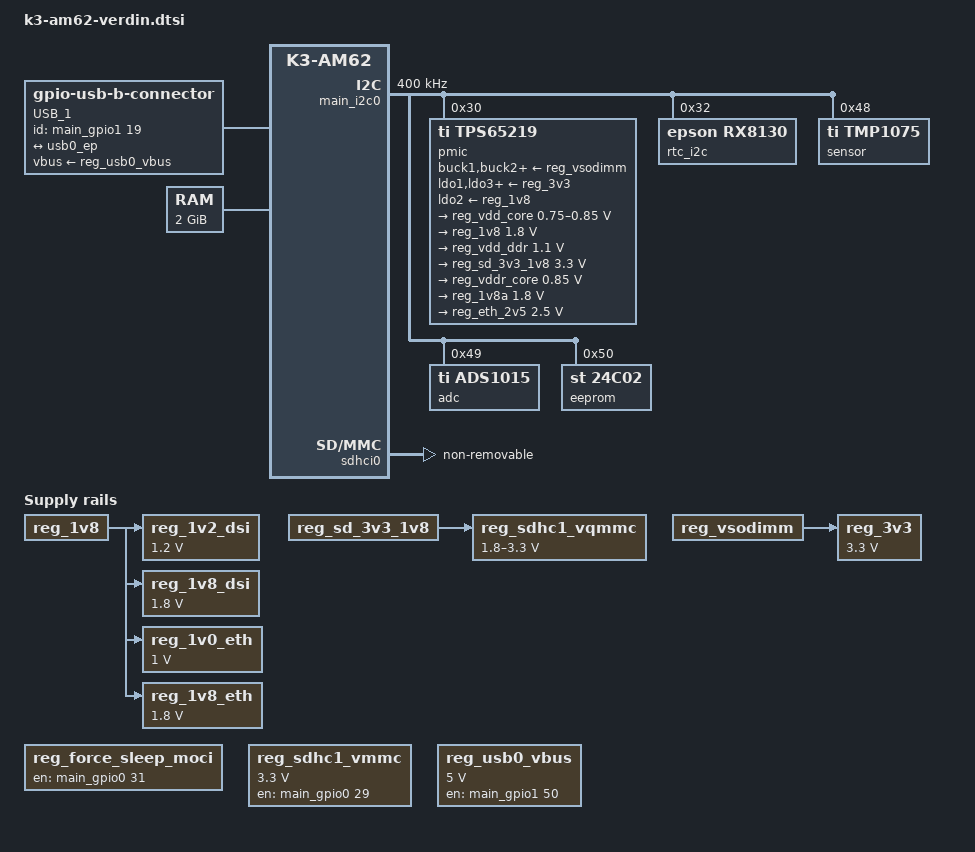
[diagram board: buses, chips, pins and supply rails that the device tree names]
// SPDX-License-Identifier: GPL-2.0-or-later OR MIT
/*
 * Copyright 2023 Toradex
 *
 * Common dtsi for Verdin AM62 SoM
 *
 * https://www.toradex.com/computer-on-modules/verdin-arm-family/ti-am62
 */

#include <dt-bindings/gpio/gpio.h>
#include <dt-bindings/input/input.h>
#include <dt-bindings/interrupt-controller/arm-gic.h>
#include <dt-bindings/interrupt-controller/irq.h>
#include <dt-bindings/net/ti-dp83867.h>

/ {
	chosen {
		stdout-path = "serial2:115200n8";
	};

	aliases {
		can0 = &main_mcan0;
		can1 = &mcu_mcan0;
		ethernet0 = &cpsw_port1;
		ethernet1 = &cpsw_port2;
		i2c0 = &main_i2c0;
		i2c1 = &main_i2c1;
		i2c2 = &main_i2c2;
		i2c3 = &mcu_i2c0;
		i2c4 = &main_i2c3;
		mmc0 = &sdhci0;
		mmc1 = &sdhci1;
		mmc2 = &sdhci2;
		rtc0 = &rtc_i2c;
		rtc1 = &wkup_rtc0;
		serial0 = &main_uart1;
		serial1 = &wkup_uart0;
		serial2 = &main_uart0;
		serial3 = &mcu_uart0;
		serial4 = &main_uart5;
		usb0 = &usb0;
		usb1 = &usb1;
	};

	connector {
		compatible = "gpio-usb-b-connector", "usb-b-connector";
		pinctrl-names = "default";
		pinctrl-0 = <&pinctrl_usb0_id>;
		id-gpios = <&main_gpio1 19 GPIO_ACTIVE_HIGH>;
		label = "USB_1";
		self-powered;
		vbus-supply = <&reg_usb0_vbus>;

		port {
			usb_dr_connector: endpoint {
				remote-endpoint = <&usb0_ep>;
			};
		};
	};

	verdin_gpio_keys: gpio-keys {
		compatible = "gpio-keys";
		pinctrl-names = "default";
		pinctrl-0 = <&pinctrl_ctrl_wake1_mico>;
		status = "disabled";

		verdin_key_wakeup: key-wakeup {
			debounce-interval = <10>;
			/* Verdin CTRL_WAKE1_MICO# (SODIMM 252) */
			gpios = <&main_gpio0 32 GPIO_ACTIVE_LOW>;
			label = "Wake-Up";
			linux,code = <KEY_WAKEUP>;
			wakeup-source;
		};
	};

	memory@80000000 {
		device_type = "memory";
		reg = <0x00000000 0x80000000 0x00000000 0x80000000>; /* 2G RAM */
	};

	opp-table {
		/* Add 1.4GHz OPP. Requires VDD_CORE to be at 0.85V */
		opp-1400000000 {
			opp-hz = /bits/ 64 <1400000000>;
			opp-supported-hw = <0x01 0x0004>;
			clock-latency-ns = <6000000>;
		};
	};

	/* Module Power Supply */
	reg_vsodimm: regulator-vsodimm {
		compatible = "regulator-fixed";
		regulator-name = "+V_SODIMM";
	};

	/* Non PMIC On-module Supplies */
	reg_3v3: regulator-3v3 {
		compatible = "regulator-fixed";
		regulator-max-microvolt = <3300000>;
		regulator-min-microvolt = <3300000>;
		regulator-name = "On-module +V3.3";
		vin-supply = <&reg_vsodimm>;
	};

	reg_1v2_dsi: regulator-1v2-dsi {
		compatible = "regulator-fixed";
		regulator-max-microvolt = <1200000>;
		regulator-min-microvolt = <1200000>;
		regulator-name = "On-module +V1.2_DSI";
		vin-supply = <&reg_1v8>;
	};

	/* Enabled by +V1.2_DSI */
	reg_1v8_dsi: regulator-1v8-dsi {
		compatible = "regulator-fixed";
		regulator-max-microvolt = <1800000>;
		regulator-min-microvolt = <1800000>;
		regulator-name = "On-module +V1.8_DSI";
		vin-supply = <&reg_1v8>;
	};

	/* Enabled by +V2.5_ETH */
	reg_1v0_eth: regulator-1v0-eth {
		compatible = "regulator-fixed";
		regulator-max-microvolt = <1000000>;
		regulator-min-microvolt = <1000000>;
		regulator-name = "On-module +V1.0_ETH";
		vin-supply = <&reg_1v8>;
	};

	/* Enabled by +V2.5_ETH */
	reg_1v8_eth: regulator-1v8-eth {
		compatible = "regulator-fixed";
		regulator-max-microvolt = <1800000>;
		regulator-min-microvolt = <1800000>;
		regulator-name = "On-module +V1.8_ETH";
		vin-supply = <&reg_1v8>;
	};

	/*
	 * By default we enable CTRL_SLEEP_MOCI#, this is required to have
	 * peripherals on the carrier board powered.
	 * If more granularity or power saving is required this can be disabled
	 * in the carrier board device tree files.
	 */
	reg_force_sleep_moci: regulator-force-sleep-moci {
		compatible = "regulator-fixed";
		enable-active-high;
		/* Verdin CTRL_SLEEP_MOCI# (SODIMM 256) */
		gpio = <&main_gpio0 31 GPIO_ACTIVE_HIGH>;
		regulator-always-on;
		regulator-boot-on;
		regulator-name = "CTRL_SLEEP_MOCI#";
	};

	/* Verdin SD_1 Power Supply */
	reg_sdhc1_vmmc: regulator-sdhci1 {
		compatible = "regulator-fixed";
		pinctrl-names = "default";
		pinctrl-0 = <&pinctrl_sd1_pwr_en>;
		enable-active-high;
		/* Verdin SD_1_PWR_EN (SODIMM 76) */
		gpio = <&main_gpio0 29 GPIO_ACTIVE_HIGH>;
		off-on-delay-us = <100000>;
		regulator-max-microvolt = <3300000>;
		regulator-min-microvolt = <3300000>;
		regulator-name = "+V3.3_SD";
		startup-delay-us = <2000>;
	};

	reg_sdhc1_vqmmc: regulator-sdhci1-vqmmc {
		compatible = "regulator-gpio";
		pinctrl-names = "default";
		pinctrl-0 = <&pinctrl_vsel_sd>;
		/* PMIC_VSEL_SD */
		gpios = <&main_gpio0 21 GPIO_ACTIVE_HIGH>;
		regulator-name = "LDO1-VSEL-SD (PMIC)";
		regulator-min-microvolt = <1800000>;
		regulator-max-microvolt = <3300000>;
		states = <1800000 0x0>,
			 <3300000 0x1>;
		vin-supply = <&reg_sd_3v3_1v8>;
	};

	reg_usb0_vbus: regulator-usb0-vbus {
		compatible = "regulator-fixed";
		pinctrl-names = "default";
		pinctrl-0 = <&pinctrl_usb0_en>;
		enable-active-high;
		/* Verdin USB_1_EN (SODIMM 155) */
		gpio = <&main_gpio1 50 GPIO_ACTIVE_HIGH>;
		regulator-max-microvolt = <5000000>;
		regulator-min-microvolt = <5000000>;
		regulator-name = "USB_1_EN";
	};

	reserved-memory {
		#address-cells = <2>;
		#size-cells = <2>;
		ranges;

		secure_tfa_ddr: tfa@9e780000 {
			reg = <0x00 0x9e780000 0x00 0x80000>;
			alignment = <0x1000>;
			no-map;
		};

		secure_ddr: optee@9e800000 {
			reg = <0x00 0x9e800000 0x00 0x01800000>; /* for OP-TEE */
			alignment = <0x1000>;
			no-map;
		};

		wkup_r5fss0_core0_dma_memory_region: r5f-dma-memory@9db00000 {
			compatible = "shared-dma-pool";
			reg = <0x00 0x9db00000 0x00 0xc00000>;
			no-map;
		};
	};
};

&main_pmx0 {
	/* Verdin PWM_1 */
	pinctrl_epwm0_a: main-epwm0a-default-pins {
		pinctrl-single,pins = <
			AM62X_IOPAD(0x01b4, PIN_OUTPUT, 2) /* (A13) SPI0_CS0.EHRPWM0_A */ /* SODIMM 15 */
		>;
	};

	/* Verdin PWM_2 */
	pinctrl_epwm0_b: main-epwm0b-default-pins {
		pinctrl-single,pins = <
			AM62X_IOPAD(0x01b8, PIN_OUTPUT, 2) /* (C13) SPI0_CS1.EHRPWM0_B */ /* SODIMM 16 */
		>;
	};

	/* Verdin PWM_3_DSI */
	pinctrl_epwm1_a: main-epwm1a-default-pins {
		pinctrl-single,pins = <
			AM62X_IOPAD(0x01bc, PIN_OUTPUT, 2) /* (A14) SPI0_CLK.EHRPWM1_A */ /* SODIMM 19 */
		>;
	};

	/* Verdin QSPI_1_CLK as GPIO (conflict with Verdin QSPI_1 interface) */
	pinctrl_qspi1_clk_gpio: main-gpio0-0-default-pins {
		pinctrl-single,pins = <
			AM62X_IOPAD(0x0000, PIN_INPUT, 7) /* (H24) OSPI0_CLK.GPIO0_0 */ /* SODIMM 52 */
		>;
	};

	/* Verdin QSPI_1_IO0 as GPIO (conflict with Verdin QSPI_1 interface) */
	pinctrl_qspi1_io0_gpio: main-gpio0-3-default-pins {
		pinctrl-single,pins = <
			AM62X_IOPAD(0x000c, PIN_INPUT, 7) /* (E25) OSPI0_D0.GPIO0_3 */ /* SODIMM 56 */
		>;
	};

	/* Verdin QSPI_1_IO1 as GPIO (conflict with Verdin QSPI_1 interface) */
	pinctrl_qspi1_io1_gpio: main-gpio0-4-default-pins {
		pinctrl-single,pins = <
			AM62X_IOPAD(0x0010, PIN_INPUT, 7) /* (G24) OSPI0_D1.GPIO0_4 */ /* SODIMM 58 */
		>;
	};

	/* Verdin QSPI_1_IO2 as GPIO (conflict with Verdin QSPI_1 interface) */
	pinctrl_qspi1_io2_gpio: main-gpio0-5-default-pins {
		pinctrl-single,pins = <
			AM62X_IOPAD(0x0014, PIN_INPUT, 7) /* (F25) OSPI0_D2.GPIO0_5 */ /* SODIMM 60 */
		>;
	};

	/* Verdin QSPI_1_IO3 as GPIO (conflict with Verdin QSPI_1 interface) */
	pinctrl_qspi1_io3_gpio: main-gpio0-6-default-pins {
		pinctrl-single,pins = <
			AM62X_IOPAD(0x0018, PIN_INPUT, 7) /* (F24) OSPI0_D3.GPIO0_6 */ /* SODIMM 62 */
		>;
	};

	/* Verdin SPI_1 CS as GPIO */
	pinctrl_qspi1_io4_gpio: main-gpio0-7-default-pins {
		pinctrl-single,pins = <
			AM62X_IOPAD(0x001c, PIN_INPUT, 7) /* (J23) OSPI0_D4.GPIO0_7 */ /* SODIMM 202 */
		>;
	};

	/* Verdin QSPI_1_CS# as GPIO (conflict with Verdin QSPI_1 interface) */
	pinctrl_qspi1_cs_gpio: main-gpio0-11-default-pins {
		pinctrl-single,pins = <
			AM62X_IOPAD(0x002c, PIN_INPUT, 7) /* (F23) OSPI0_CSn0.GPIO0_11 */ /* SODIMM 54 */
		>;
	};

	/* Verdin QSPI_1_CS2# as GPIO (conflict with Verdin QSPI_1 interface) */
	pinctrl_qspi1_cs2_gpio: main-gpio0-12-default-pins {
		pinctrl-single,pins = <
			AM62X_IOPAD(0x0030, PIN_INPUT, 7) /* (G21) OSPI0_CSn1.GPIO0_12 */ /* SODIMM 64 */
		>;
	};

	/* WiFi_W_WKUP_HOST# */
	pinctrl_wifi_w_wkup_host: main-gpio0-15-default-pins {
		pinctrl-single,pins = <
			AM62X_IOPAD(0x003c, PIN_INPUT, 7) /* (M25) GPMC0_AD0.GPIO0_15 */ /* SODIMM 174 */
		>;
	};

	/* WiFi_BT_WKUP_HOST# */
	pinctrl_bt_wkup_host: main-gpio0-16-default-pins {
		pinctrl-single,pins = <
			AM62X_IOPAD(0x0040, PIN_INPUT, 7) /* (N23) GPMC0_AD1.GPIO0_16 */ /* SODIMM 172 */
		>;
	};

	/* PMIC_ETH_RESET# */
	pinctrl_eth_reset: main-gpio0-17-default-pins {
		pinctrl-single,pins = <
			AM62X_IOPAD(0x0044, PIN_INPUT, 7) /* (N24) GPMC0_AD2.GPIO0_17 */
		>;
	};

	/* PMIC_BRIDGE_RESET# */
	pinctrl_bridge_reset: main-gpio0-20-default-pins {
		pinctrl-single,pins = <
			AM62X_IOPAD(0x0050, PIN_INPUT, 7) /* (P22) GPMC0_AD5.GPIO0_20 */
		>;
	};

	/* PMIC_VSEL_SD */
	pinctrl_vsel_sd: main-gpio0-21-default-pins {
		pinctrl-single,pins = <
			AM62X_IOPAD(0x0054, PIN_INPUT, 7) /* (P21) GPMC0_AD6.GPIO0_21 */
		>;
	};

	/* PMIC_EN_WIFI */
	pinctrl_wifi_en: main-gpio0-22-default-pins {
		pinctrl-single,pins = <
			AM62X_IOPAD(0x0058, PIN_INPUT, 7) /* (R23) GPMC0_AD7.GPIO0_22 */
		>;
	};

	/* PMIC_ETH_INT# */
	pinctrl_eth_int: main-gpio0-25-default-pins {
		pinctrl-single,pins = <
			AM62X_IOPAD(0x0064, PIN_INPUT_PULLUP, 7) /* (T25) GPMC0_AD10.GPIO0_25 */
		>;
	};

	/* WiFi_WKUP_BT# */
	pinctrl_wifi_wkup_bt: main-gpio0-26-default-pins {
		pinctrl-single,pins = <
			AM62X_IOPAD(0x0068, PIN_INPUT, 7) /* (R21) GPMC0_AD11.GPIO0_26 */
		>;
	};

	/* WiFi_WKUP_WLAN# */
	pinctrl_wifi_wkup_wlan: main-gpio0-27-default-pins {
		pinctrl-single,pins = <
			AM62X_IOPAD(0x006c, PIN_INPUT, 7) /* (T22) GPMC0_AD12.GPIO0_27 */
		>;
	};

	/* Verdin SD_1_PWR_EN */
	pinctrl_sd1_pwr_en: main-gpio0-29-default-pins {
		pinctrl-single,pins = <
			AM62X_IOPAD(0x0074, PIN_INPUT, 7) /* (U25) GPMC0_AD14.GPIO0_29 */ /* SODIMM 76 */
		>;
	};

	/* Verdin DSI_1_BKL_EN */
	pinctrl_dsi1_bkl_en: main-gpio0-30-default-pins {
		pinctrl-single,pins = <
			AM62X_IOPAD(0x0078, PIN_INPUT, 7) /* (U24) GPMC0_AD15.GPIO0_30 */ /* SODIMM 21 */
		>;
	};

	/* Verdin CTRL_SLEEP_MOCI# */
	pinctrl_ctrl_sleep_moci: main-gpio0-31-default-pins {
		pinctrl-single,pins = <
			AM62X_IOPAD(0x007c, PIN_INPUT, 7) /* (P25) GPMC0_CLK.GPIO0_31 */ /* SODIMM 256 */
		>;
	};

	/* Verdin CTRL_WAKE1_MICO# */
	pinctrl_ctrl_wake1_mico: main-gpio0-32-default-pins {
		pinctrl-single,pins = <
			AM62X_IOPAD(0x0084, PIN_INPUT_PULLUP, 7) /* (L23) GPMC0_ADVn_ALE.GPIO0_32 */ /* SODIMM 252 */
		>;
	};

	/* Verdin I2S_2_D_OUT as GPIO (conflict with Verdin I2S_2 interface) */
	pinctrl_i2s_2_d_out_gpio: main-gpio0-34-default-pins {
		pinctrl-single,pins = <
			AM62X_IOPAD(0x008c, PIN_INPUT, 7) /* (L25) GPMC0_WEn.GPIO0_34 */ /* SODIMM 46 */
		>;
	};

	/* Verdin I2S_2_BCLK as GPIO (conflict with Verdin I2S_2 interface) */
	pinctrl_i2s_2_bclk_gpio: main-gpio0-35-default-pins {
		pinctrl-single,pins = <
			AM62X_IOPAD(0x0090, PIN_INPUT, 7) /* (M24) GPMC0_BE0n_CLE.GPIO0_35 */ /* SODIMM 42 */
		>;
	};

	/* Verdin GPIO_6 */
	pinctrl_gpio_6: main-gpio0-36-default-pins {
		pinctrl-single,pins = <
			AM62X_IOPAD(0x0094, PIN_INPUT, 7) /* (N20) GPMC0_BE1n.GPIO0_36 */ /* SODIMM 218 */
		>;
	};

	/* Verdin ETH_2_RGMII_INT# */
	pinctrl_eth2_rgmii_int: main-gpio0-38-default-pins {
		pinctrl-single,pins = <
			AM62X_IOPAD(0x009c, PIN_INPUT, 7) /* (V25) GPMC0_WAIT1.GPIO0_38 */ /* SODIMM 189 */
		>;
	};

	/* Verdin GPIO_5 */
	pinctrl_gpio_5: main-gpio0-40-default-pins {
		pinctrl-single,pins = <
			AM62X_IOPAD(0x00a4, PIN_INPUT, 7) /* (M22) GPMC0_DIR.GPIO0_40 */ /* SODIMM 216 */
		>;
	};

	/* Verdin GPIO_7 */
	pinctrl_gpio_7: main-gpio0-41-default-pins {
		pinctrl-single,pins = <
			AM62X_IOPAD(0x00a8, PIN_INPUT, 7) /* (M21) GPMC0_CSn0.GPIO0_41 */ /* SODIMM 220 */
		>;
	};

	/* Verdin GPIO_8 */
	pinctrl_gpio_8: main-gpio0-42-default-pins {
		pinctrl-single,pins = <
			AM62X_IOPAD(0x00ac, PIN_INPUT, 7) /* (L21) GPMC0_CSn1.GPIO0_42 */ /* SODIMM 222 */
		>;
	};

	/* Verdin USB_1_OC# */
	pinctrl_usb1_oc: main-gpio0-71-default-pins {
		pinctrl-single,pins = <
			AM62X_IOPAD(0x0124, PIN_INPUT, 7) /* (A23) MMC2_SDCD.GPIO0_71 */ /* SODIMM 157 */
		>;
	};

	/* Verdin USB_2_OC# */
	pinctrl_usb2_oc: main-gpio0-72-default-pins {
		pinctrl-single,pins = <
			AM62X_IOPAD(0x0128, PIN_INPUT, 7) /* (B23) MMC2_SDWP.GPIO0_72 */ /* SODIMM 187 */
		>;
	};

	/* Verdin PWM_3_DSI as GPIO */
	pinctrl_pwm3_dsi_gpio: main-gpio1-17-default-pins {
		pinctrl-single,pins = <
			AM62X_IOPAD(0x01bc, PIN_INPUT, 7) /* (A14) SPI0_CLK.GPIO1_17 */ /* SODIMM 19 */
		>;
	};

	/* Verdin QSPI_1_DQS as GPIO */
	pinctrl_qspi1_dqs_gpio: main-gpio1-18-default-pins {
		pinctrl-single,pins = <
			AM62X_IOPAD(0x01c0, PIN_INPUT, 7) /* (B13) SPI0_D0.GPIO1_18 */ /* SODIMM 66 */
		>;
	};

	/* Verdin USB_1_ID */
	pinctrl_usb0_id: main-gpio1-19-default-pins {
		pinctrl-single,pins = <
			AM62X_IOPAD(0x01c4, PIN_INPUT, 7) /* (B14) SPI0_D1.GPIO1_19 */ /* SODIMM 161 */
		>;
	};

	/* Verdin SD_1_CD# as GPIO */
	pinctrl_sd1_cd_gpio: main-gpio1-48-default-pins {
		pinctrl-single,pins = <
			AM62X_IOPAD(0x240, PIN_INPUT_PULLUP, 7) /* (D17) MMC1_SDCD.GPIO1_48 */ /* SODIMM 84 */
		>;
	};

	/* Verdin DSI_1_INT# (pulled-up as active-low) */
	pinctrl_dsi1_int: main-gpio1-49-default-pins {
		pinctrl-single,pins = <
			AM62X_IOPAD(0x0244, PIN_INPUT_PULLUP, 7) /* (C17) MMC1_SDWP.GPIO1_49 */ /* SODIMM 17 */
		>;
	};

	/* Verdin USB_1_EN */
	pinctrl_usb0_en: main-gpio1-50-default-pins {
		pinctrl-single,pins = <
			AM62X_IOPAD(0x0254, PIN_INPUT, 7) /* (C20) USB0_DRVVBUS.GPIO1_50 */ /* SODIMM 155 */
		>;
	};

	/* On-module I2C - PMIC_I2C */
	pinctrl_i2c0: main-i2c0-default-pins {
		pinctrl-single,pins = <
			AM62X_IOPAD(0x01e0, PIN_INPUT, 0) /* (B16) I2C0_SCL */ /* PMIC_I2C_SCL */
			AM62X_IOPAD(0x01e4, PIN_INPUT, 0) /* (A16) I2C0_SDA */ /* PMIC_I2C_SDA */
		>;
	};

	/* Verdin I2C_1 */
	pinctrl_i2c1: main-i2c1-default-pins {
		pinctrl-single,pins = <
			AM62X_IOPAD(0x01e8, PIN_INPUT_PULLUP, 0) /* (B17) I2C1_SCL */ /* SODIMM 14 */
			AM62X_IOPAD(0x01ec, PIN_INPUT_PULLUP, 0) /* (A17) I2C1_SDA */ /* SODIMM 12 */
		>;
	};

	/* Verdin I2C_2_DSI */
	pinctrl_i2c2: main-i2c2-default-pins {
		pinctrl-single,pins = <
			AM62X_IOPAD(0x00b0, PIN_INPUT, 1) /* (K22) GPMC0_CSn2.I2C2_SCL */ /* SODIMM 55 */
			AM62X_IOPAD(0x00b4, PIN_INPUT, 1) /* (K24) GPMC0_CSn3.I2C2_SDA */ /* SODIMM 53 */
		>;
	};

	/* Verdin I2C_4_CSI */
	pinctrl_i2c3: main-i2c3-default-pins {
		pinctrl-single,pins = <
			AM62X_IOPAD(0x01d0, PIN_INPUT, 2) /* (A15) UART0_CTSn.I2C3_SCL */ /* SODIMM 95 */
			AM62X_IOPAD(0x01d4, PIN_INPUT, 2) /* (B15) UART0_RTSn.I2C3_SDA */ /* SODIMM 93 */
		>;
	};

	/* I2S_1_MCLK */
	pinctrl_i2s1_mclk: main-system-audio-ext-reflock1-default-pins {
		pinctrl-single,pins = <
			AM62X_IOPAD(0x00a0, PIN_OUTPUT, 1) /* (K25) GPMC0_WPn.AUDIO_EXT_REFCLK1 */ /* SODIMM 38 */
		>;
	};

	/* Verdin I2S_1 */
	pinctrl_mcasp0: main-mcasp0-default-pins {
		pinctrl-single,pins = <
			AM62X_IOPAD(0x01a4, PIN_INPUT,  0) /* (B20) MCASP0_ACLKX */ /* SODIMM 30 */
			AM62X_IOPAD(0x01a8, PIN_INPUT,  0) /* (D20) MCASP0_AFSX  */ /* SODIMM 32 */
			AM62X_IOPAD(0x01a0, PIN_OUTPUT, 0) /* (E18) MCASP0_AXR0  */ /* SODIMM 34 */
			AM62X_IOPAD(0x019c, PIN_INPUT,  0) /* (B18) MCASP0_AXR1  */ /* SODIMM 36 */
		>;
	};

	/* Verdin I2S_2 */
	pinctrl_mcasp1: main-mcasp1-default-pins {
		pinctrl-single,pins = <
			AM62X_IOPAD(0x0090, PIN_INPUT,  2) /* (M24) GPMC0_BE0n_CLE.MCASP1_ACLKX */ /* SODIMM 42 */
			AM62X_IOPAD(0x0098, PIN_INPUT,  2) /* (U23) GPMC0_WAIT0.MCASP1_AFSX     */ /* SODIMM 44 */
			AM62X_IOPAD(0x008c, PIN_OUTPUT, 2) /* (L25) GPMC0_WEn.MCASP1_AXR0       */ /* SODIMM 46 */
			AM62X_IOPAD(0x0088, PIN_INPUT,  2) /* (L24) GPMC0_OEn_REn.MCASP1_AXR1   */ /* SODIMM 48 */
		>;
	};

	/* Verdin CAN_1 */
	pinctrl_mcan0: main-mcan0-default-pins {
		pinctrl-single,pins = <
			AM62X_IOPAD(0x01dc, PIN_INPUT,  0) /* (E15) MCAN0_RX */ /* SODIMM 22 */
			AM62X_IOPAD(0x01d8, PIN_OUTPUT, 0) /* (C15) MCAN0_TX */ /* SODIMM 20 */
		>;
	};

	/* MDIO, shared by Verdin ETH_1 (On-module PHY) and Verdin ETH_2_RGMII */
	pinctrl_mdio: main-mdio1-default-pins {
		pinctrl-single,pins = <
			AM62X_IOPAD(0x160, PIN_OUTPUT, 0) /* (AD24) MDIO0_MDC  */ /* ETH_1_MDC,  SODIMM 193 */
			AM62X_IOPAD(0x15c, PIN_INPUT, 0)  /* (AB22) MDIO0_MDIO */ /* ETH_1_MDIO, SODIMM 191 */
		>;
	};

	/* On-module eMMC */
	pinctrl_sdhci0: main-mmc0-default-pins {
		pinctrl-single,pins = <
			AM62X_IOPAD(0x220, PIN_INPUT, 0) /*  (Y3) MMC0_CMD  */
			AM62X_IOPAD(0x218, PIN_INPUT, 0) /* (AB1) MMC0_CLK  */
			AM62X_IOPAD(0x214, PIN_INPUT, 0) /* (AA2) MMC0_DAT0 */
			AM62X_IOPAD(0x210, PIN_INPUT, 0) /* (AA1) MMC0_DAT1 */
			AM62X_IOPAD(0x20c, PIN_INPUT, 0) /* (AA3) MMC0_DAT2 */
			AM62X_IOPAD(0x208, PIN_INPUT, 0) /*  (Y4) MMC0_DAT3 */
			AM62X_IOPAD(0x204, PIN_INPUT, 0) /* (AB2) MMC0_DAT4 */
			AM62X_IOPAD(0x200, PIN_INPUT, 0) /* (AC1) MMC0_DAT5 */
			AM62X_IOPAD(0x1fc, PIN_INPUT, 0) /* (AD2) MMC0_DAT6 */
			AM62X_IOPAD(0x1f8, PIN_INPUT, 0) /* (AC2) MMC0_DAT7 */
		>;
	};

	/* Verdin SD_1 */
	pinctrl_sdhci1: main-mmc1-default-pins {
		pinctrl-single,pins = <
			AM62X_IOPAD(0x23c, PIN_INPUT,        0) /* (A21) MMC1_CMD  */ /* SODIMM 74 */
			AM62X_IOPAD(0x234, PIN_INPUT,        0) /* (B22) MMC1_CLK  */ /* SODIMM 78 */
			AM62X_IOPAD(0x230, PIN_INPUT,        0) /* (A22) MMC1_DAT0 */ /* SODIMM 80 */
			AM62X_IOPAD(0x22c, PIN_INPUT,        0) /* (B21) MMC1_DAT1 */ /* SODIMM 82 */
			AM62X_IOPAD(0x228, PIN_INPUT,        0) /* (C21) MMC1_DAT2 */ /* SODIMM 70 */
			AM62X_IOPAD(0x224, PIN_INPUT,        0) /* (D22) MMC1_DAT3 */ /* SODIMM 72 */
		>;
	};

	/* On-module Wi-Fi on WB SKUs, module-specific SDIO otherwise */
	pinctrl_sdhci2: main-mmc2-default-pins {
		pinctrl-single,pins = <
			AM62X_IOPAD(0x120, PIN_INPUT, 0) /* (C24) MMC2_CMD   */ /* WiFi_SDIO_CMD   */
			AM62X_IOPAD(0x118, PIN_INPUT, 0) /* (D25) MMC2_CLK   */ /* WiFi_SDIO_CLK   */
			AM62X_IOPAD(0x114, PIN_INPUT, 0) /* (B24) MMC2_DAT0  */ /* WiFi_SDIO_DATA0 */
			AM62X_IOPAD(0x110, PIN_INPUT, 0) /* (C25) MMC2_DAT1  */ /* WiFi_SDIO_DATA1 */
			AM62X_IOPAD(0x10c, PIN_INPUT, 0) /* (E23) MMC2_DAT2  */ /* WiFi_SDIO_DATA2 */
			AM62X_IOPAD(0x108, PIN_INPUT, 0) /* (D24) MMC2_DAT3  */ /* WiFi_SDIO_DATA3 */
			AM62X_IOPAD(0x11c, PIN_INPUT, 0) /* (#N/A) MMC2_CLKB */
		>;
	};

	/* Verdin QSPI_1 */
	pinctrl_ospi0: main-ospi0-default-pins {
		pinctrl-single,pins = <
			AM62X_IOPAD(0x0000, PIN_OUTPUT, 0) /* (H24) OSPI0_CLK  */ /* SODIMM 52 */
			AM62X_IOPAD(0x002c, PIN_OUTPUT, 0) /* (F23) OSPI0_CSn0 */ /* SODIMM 54 */
			AM62X_IOPAD(0x0030, PIN_OUTPUT, 0) /* (G21) OSPI0_CSn1 */ /* SODIMM 64 */
			AM62X_IOPAD(0x000c, PIN_INPUT, 0)  /* (E25) OSPI0_D0   */ /* SODIMM 56 */
			AM62X_IOPAD(0x0010, PIN_INPUT, 0)  /* (G24) OSPI0_D1   */ /* SODIMM 58 */
			AM62X_IOPAD(0x0014, PIN_INPUT, 0)  /* (F25) OSPI0_D2   */ /* SODIMM 60 */
			AM62X_IOPAD(0x0018, PIN_INPUT, 0)  /* (F24) OSPI0_D3   */ /* SODIMM 62 */
		>;
	};

	/* Verdin ETH_1 RGMII (On-module PHY) */
	pinctrl_rgmii1: main-rgmii1-default-pins {
		pinctrl-single,pins = <
			AM62X_IOPAD(0x14c, PIN_INPUT,  0) /* (AB17) RGMII1_RD0    */
			AM62X_IOPAD(0x150, PIN_INPUT,  0) /* (AC17) RGMII1_RD1    */
			AM62X_IOPAD(0x154, PIN_INPUT,  0) /* (AB16) RGMII1_RD2    */
			AM62X_IOPAD(0x158, PIN_INPUT,  0) /* (AA15) RGMII1_RD3    */
			AM62X_IOPAD(0x148, PIN_INPUT,  0) /* (AD17) RGMII1_RXC    */
			AM62X_IOPAD(0x144, PIN_INPUT,  0) /* (AE17) RGMII1_RX_CTL */
			AM62X_IOPAD(0x134, PIN_OUTPUT, 0) /* (AE20) RGMII1_TD0    */
			AM62X_IOPAD(0x138, PIN_OUTPUT, 0) /* (AD20) RGMII1_TD1    */
			AM62X_IOPAD(0x13c, PIN_OUTPUT, 0) /* (AE18) RGMII1_TD2    */
			AM62X_IOPAD(0x140, PIN_OUTPUT, 0) /* (AD18) RGMII1_TD3    */
			AM62X_IOPAD(0x130, PIN_OUTPUT, 0) /* (AE19) RGMII1_TXC    */
			AM62X_IOPAD(0x12c, PIN_OUTPUT, 0) /* (AD19) RGMII1_TX_CTL */
		>;
	};

	/* Verdin ETH_2 RGMII */
	pinctrl_rgmii2: main-rgmii2-default-pins {
		pinctrl-single,pins = <
			AM62X_IOPAD(0x184, PIN_INPUT,  0) /* (AE23) RGMII2_RD0    */ /* SODIMM 201 */
			AM62X_IOPAD(0x188, PIN_INPUT,  0) /* (AB20) RGMII2_RD1    */ /* SODIMM 203 */
			AM62X_IOPAD(0x18c, PIN_INPUT,  0) /* (AC21) RGMII2_RD2    */ /* SODIMM 205 */
			AM62X_IOPAD(0x190, PIN_INPUT,  0) /* (AE22) RGMII2_RD3    */ /* SODIMM 207 */
			AM62X_IOPAD(0x180, PIN_INPUT,  0) /* (AD23) RGMII2_RXC    */ /* SODIMM 197 */
			AM62X_IOPAD(0x17c, PIN_INPUT,  0) /* (AD22) RGMII2_RX_CTL */ /* SODIMM 199 */
			AM62X_IOPAD(0x16c, PIN_OUTPUT, 0) /*  (Y18) RGMII2_TD0    */ /* SODIMM 221 */
			AM62X_IOPAD(0x170, PIN_OUTPUT, 0) /* (AA18) RGMII2_TD1    */ /* SODIMM 219 */
			AM62X_IOPAD(0x174, PIN_OUTPUT, 0) /* (AD21) RGMII2_TD2    */ /* SODIMM 217 */
			AM62X_IOPAD(0x178, PIN_OUTPUT, 0) /* (AC20) RGMII2_TD3    */ /* SODIMM 215 */
			AM62X_IOPAD(0x168, PIN_OUTPUT, 0) /* (AE21) RGMII2_TXC    */ /* SODIMM 213 */
			AM62X_IOPAD(0x164, PIN_OUTPUT, 0) /* (AA19) RGMII2_TX_CTL */ /* SODIMM 211 */
		>;
	};

	/* Verdin SPI_1 */
	pinctrl_spi1: main-spi1-default-pins {
		pinctrl-single,pins = <
			AM62X_IOPAD(0x0020, PIN_INPUT, 1) /* (J25) OSPI0_D5.SPI1_CLK */ /* SODIMM 196 */
			AM62X_IOPAD(0x0024, PIN_INPUT, 1) /* (H25) OSPI0_D6.SPI1_D0  */ /* SODIMM 200 */
			AM62X_IOPAD(0x0028, PIN_INPUT, 1) /* (J22) OSPI0_D7.SPI1_D1  */ /* SODIMM 198 */
		>;
	};

	/* Verdin SPI_1 CS */
	pinctrl_spi1_cs0: main-spi1-cs0-default-pins {
		pinctrl-single,pins = <
			AM62X_IOPAD(0x001c, PIN_INPUT, 1) /* (J23) OSPI0_D4.SPI1_CS0 */ /* SODIMM 202 */
		>;
	};

	/* ETH_25MHz_CLK */
	pinctrl_eth_clock: main-system-clkout0-default-pins {
		pinctrl-single,pins = <
			AM62X_IOPAD(0x01f0, PIN_OUTPUT_PULLUP, 5) /* (A18) EXT_REFCLK1.CLKOUT0 */
		>;
	};

	/* PMIC_EXTINT# */
	pinctrl_pmic_extint: main-system-extint-default-pins {
		pinctrl-single,pins = <
			AM62X_IOPAD(0x01f4, PIN_INPUT, 0) /* (D16) EXTINTn */
		>;
	};

	/* Verdin UART_3, used as the Linux console */
	pinctrl_uart0: main-uart0-default-pins {
		pinctrl-single,pins = <
			AM62X_IOPAD(0x1c8, PIN_INPUT_PULLUP, 0) /* (D14) UART0_RXD */ /* SODIMM 147 */
			AM62X_IOPAD(0x1cc, PIN_OUTPUT,       0) /* (E14) UART0_TXD */ /* SODIMM 149 */
		>;
	};

	/* Verdin UART_1 */
	pinctrl_uart1: main-uart1-default-pins {
		pinctrl-single,pins = <
			AM62X_IOPAD(0x0194, PIN_INPUT_PULLUP, 2) /* (B19) MCASP0_AXR3.UART1_CTSn */ /* SODIMM 135 */
			AM62X_IOPAD(0x0198, PIN_OUTPUT,       2) /* (A19) MCASP0_AXR2.UART1_RTSn */ /* SODIMM 133 */
			AM62X_IOPAD(0x01ac, PIN_INPUT_PULLUP, 2) /* (E19) MCASP0_AFSR.UART1_RXD  */ /* SODIMM 129 */
			AM62X_IOPAD(0x01b0, PIN_OUTPUT,       2) /* (A20) MCASP0_ACLKR.UART1_TXD */ /* SODIMM 131 */
		>;
	};

	/* Bluetooth on WB SKUs, module-specific UART otherwise */
	pinctrl_uart5: main-uart5-default-pins {
		pinctrl-single,pins = <
			AM62X_IOPAD(0x0008, PIN_INPUT_PULLUP, 5) /* (J24) OSPI0_DQS.UART5_CTSn    */ /* WiFi_UART_CTS */
			AM62X_IOPAD(0x0004, PIN_OUTPUT,       5) /* (G25) OSPI0_LBCLKO.UART5_RTSn */ /* WiFi_UART_RTS */
			AM62X_IOPAD(0x0034, PIN_INPUT_PULLUP, 5) /* (H21) OSPI0_CSn2.UART5_RXD    */ /* WiFi_UART_RXD */
			AM62X_IOPAD(0x0038, PIN_OUTPUT,       5) /* (E24) OSPI0_CSn3.UART5_TXD    */ /* WiFi_UART_TXD */
		>;
	};

	/* Verdin USB_2 */
	pinctrl_usb1: main-usb1-default-pins {
		pinctrl-single,pins = <
			AM62X_IOPAD(0x0258, PIN_OUTPUT, 0) /* (F18) USB1_DRVVBUS */ /* SODIMM 185 */
		>;
	};

	/* DSS VOUT0 RGB */
	pinctrl_parallel_rgb: main-vout-default-pins {
		pinctrl-single,pins = <
			AM62X_IOPAD(0x0100, PIN_OUTPUT, 0) /* (AC25) VOUT0_VSYNC            */
			AM62X_IOPAD(0x00f8, PIN_OUTPUT, 0) /* (AB24) VOUT0_HSYNC            */
			AM62X_IOPAD(0x0104, PIN_OUTPUT, 0) /* (AC24) VOUT0_PCLK             */
			AM62X_IOPAD(0x00fc, PIN_OUTPUT, 0) /*  (Y20) VOUT0_DE               */
			AM62X_IOPAD(0x00b8, PIN_OUTPUT, 0) /*  (U22) VOUT0_DATA0            */
			AM62X_IOPAD(0x00bc, PIN_OUTPUT, 0) /*  (V24) VOUT0_DATA1            */
			AM62X_IOPAD(0x00c0, PIN_OUTPUT, 0) /*  (W25) VOUT0_DATA2            */
			AM62X_IOPAD(0x00c4, PIN_OUTPUT, 0) /*  (W24) VOUT0_DATA3            */
			AM62X_IOPAD(0x00c8, PIN_OUTPUT, 0) /*  (Y25) VOUT0_DATA4            */
			AM62X_IOPAD(0x00cc, PIN_OUTPUT, 0) /*  (Y24) VOUT0_DATA5            */
			AM62X_IOPAD(0x00d0, PIN_OUTPUT, 0) /*  (Y23) VOUT0_DATA6            */
			AM62X_IOPAD(0x00d4, PIN_OUTPUT, 0) /* (AA25) VOUT0_DATA7            */
			AM62X_IOPAD(0x00d8, PIN_OUTPUT, 0) /*  (V21) VOUT0_DATA8            */
			AM62X_IOPAD(0x00dc, PIN_OUTPUT, 0) /*  (W21) VOUT0_DATA9            */
			AM62X_IOPAD(0x00e0, PIN_OUTPUT, 0) /*  (V20) VOUT0_DATA10           */
			AM62X_IOPAD(0x00e4, PIN_OUTPUT, 0) /* (AA23) VOUT0_DATA11           */
			AM62X_IOPAD(0x00e8, PIN_OUTPUT, 0) /* (AB25) VOUT0_DATA12           */
			AM62X_IOPAD(0x00ec, PIN_OUTPUT, 0) /* (AA24) VOUT0_DATA13           */
			AM62X_IOPAD(0x00f0, PIN_OUTPUT, 0) /*  (Y22) VOUT0_DATA14           */
			AM62X_IOPAD(0x00f4, PIN_OUTPUT, 0) /* (AA21) VOUT0_DATA15           */
			AM62X_IOPAD(0x005c, PIN_OUTPUT, 1) /*  (R24) GPMC0_AD8.VOUT0_DATA16 */
			AM62X_IOPAD(0x0060, PIN_OUTPUT, 1) /*  (R25) GPMC0_AD9.VOUT0_DATA17 */
		>;
	};
};

&mcu_pmx0 {
	/* Verdin PCIE_1_RESET# */
	pinctrl_pcie_1_reset: mcu-gpio0-0-default-pins {
		pinctrl-single,pins = <
			AM62X_MCU_IOPAD(0x0000, PIN_INPUT, 7) /* (E8) MCU_SPI0_CS0.MCU_GPIO0_0 */ /* SODIMM 244 */
		>;
	};

	/* Verdin GPIO_1 */
	pinctrl_gpio_1: mcu-gpio0-1-default-pins {
		pinctrl-single,pins = <
			AM62X_MCU_IOPAD(0x0004, PIN_INPUT, 7) /* (B8) MCU_SPI0_CS1.MCU_GPIO0_1 */ /* SODIMM 206 */
		>;
	};

	/* Verdin GPIO_2 */
	pinctrl_gpio_2: mcu-gpio0-2-default-pins {
		pinctrl-single,pins = <
			AM62X_MCU_IOPAD(0x0008, PIN_INPUT, 7) /* (A7) MCU_SPI0_CLK.MCU_GPIO0_2 */ /* SODIMM 208 */
		>;
	};

	/* Verdin GPIO_3 */
	pinctrl_gpio_3: mcu-gpio0-3-default-pins {
		pinctrl-single,pins = <
			AM62X_MCU_IOPAD(0x000c, PIN_INPUT, 7) /* (D9) MCU_SPI0_D0.MCU_GPIO0_3 */ /* SODIMM 210 */
		>;
	};

	/* Verdin GPIO_4 */
	pinctrl_gpio_4: mcu-gpio0-4-default-pins {
		pinctrl-single,pins = <
			AM62X_MCU_IOPAD(0x0010, PIN_INPUT, 7) /* (C9) MCU_SPI0_D1.MCU_GPIO0_4 */ /* SODIMM 212 */
		>;
	};

	/* Verdin I2C_3_HDMI */
	pinctrl_mcu_i2c0: mcu-i2c0-default-pins {
		pinctrl-single,pins = <
			AM62X_MCU_IOPAD(0x0044, PIN_INPUT, 0) /*  (A8) MCU_I2C0_SCL */ /* SODIMM 59 */
			AM62X_MCU_IOPAD(0x0048, PIN_INPUT, 0) /* (D10) MCU_I2C0_SDA */ /* SODIMM 57 */
		>;
	};

	/* Verdin CAN_2 */
	pinctrl_mcu_mcan0: mcu-mcan0-default-pins {
		pinctrl-single,pins = <
			AM62X_MCU_IOPAD(0x0038, PIN_INPUT,  0) /* (B3) MCU_MCAN0_RX */ /* SODIMM 26 */
			AM62X_MCU_IOPAD(0x0034, PIN_OUTPUT, 0) /* (D6) MCU_MCAN0_TX */ /* SODIMM 24 */
		>;
	};

	/* Verdin UART_4 - Reserved to Cortex-M4 */
	pinctrl_mcu_uart0: mcu-uart0-default-pins {
		pinctrl-single,pins = <
			AM62X_MCU_IOPAD(0x0014, PIN_INPUT_PULLUP, 0) /* (B5) MCU_UART0_RXD */ /* SODIMM 151 */
			AM62X_MCU_IOPAD(0x0018, PIN_OUTPUT,       0) /* (A5) MCU_UART0_TXD */ /* SODIMM 153 */
		>;
	};

	/* Verdin CSI_1_MCLK */
	pinctrl_csi1_mclk: wkup-clkout0-default-pins {
		pinctrl-single,pins = <
			AM62X_MCU_IOPAD(0x0084, PIN_OUTPUT, 0) /* (A12) WKUP_CLKOUT0 */ /* SODIMM 91 */
		>;
	};

	/* Verdin UART_2 */
	pinctrl_wkup_uart0: wkup-uart0-default-pins {
		pinctrl-single,pins = <
			AM62X_MCU_IOPAD(0x002c, PIN_INPUT_PULLUP, 0) /* (C6) WKUP_UART0_CTSn */ /* SODIMM 143 */
			AM62X_MCU_IOPAD(0x0030, PIN_OUTPUT,       0) /* (A4) WKUP_UART0_RTSn */ /* SODIMM 141 */
			AM62X_MCU_IOPAD(0x0024, PIN_INPUT_PULLUP, 0) /* (B4) WKUP_UART0_RXD  */ /* SODIMM 137 */
			AM62X_MCU_IOPAD(0x0028, PIN_OUTPUT,       0) /* (C5) WKUP_UART0_TXD  */ /* SODIMM 139 */
		>;
	};
};

/* VERDIN I2S_1_MCLK */
&audio_refclk1 {
	assigned-clock-rates = <25000000>;
};

&cpsw3g {
	pinctrl-names = "default";
	pinctrl-0 = <&pinctrl_rgmii1>;
	status = "disabled";
};

/* Verdin ETH_1 (On-module PHY) */
&cpsw_port1 {
	phy-handle = <&cpsw3g_phy0>;
	phy-mode = "rgmii-rxid";
	status = "disabled";
};

/* Verdin ETH_2_RGMII */
&cpsw_port2 {
	status = "disabled";
};

/* MDIO, shared by Verdin ETH_1 (On-module PHY) and Verdin ETH_2_RGMII */
&cpsw3g_mdio {
	assigned-clocks = <&k3_clks 157 20>;
	assigned-clock-parents = <&k3_clks 157 22>;
	assigned-clock-rates = <25000000>;
	pinctrl-names = "default";
	pinctrl-0 = <&pinctrl_eth_clock>, <&pinctrl_mdio>;
	status = "disabled";

	cpsw3g_phy0: ethernet-phy@0 {
		compatible = "ethernet-phy-id2000.a231";
		reg = <0>;
		interrupt-parent = <&main_gpio0>;
		interrupts = <25 IRQ_TYPE_EDGE_FALLING>;
		pinctrl-names = "default";
		pinctrl-0 = <&pinctrl_eth_int>, <&pinctrl_eth_reset>;
		reset-gpios = <&main_gpio0 17 GPIO_ACTIVE_LOW>;
		reset-assert-us = <10>;
		reset-deassert-us = <1000>;
		ti,fifo-depth = <DP83867_PHYCR_FIFO_DEPTH_4_B_NIB>;
		ti,rx-internal-delay = <DP83867_RGMIIDCTL_2_00_NS>;
	};
};

&dss {
	pinctrl-names = "default";
	pinctrl-0 = <&pinctrl_parallel_rgb>;
	status = "disabled";
};

&dss_ports {
	#address-cells = <1>;
	#size-cells = <0>;

	/* VP2: DPI Output */
	port@1 {
		reg = <1>;

		dpi_out: endpoint {
			remote-endpoint = <&rgb_in>;
		};
	};
};

/* Verdin PWM_1, PWM_2 */
&epwm0 {
	pinctrl-names = "default";
	pinctrl-0 = <&pinctrl_epwm0_a>, <&pinctrl_epwm0_b>;
	status = "disabled";
};

/* Verdin PWM_3_DSI */
&epwm1 {
	pinctrl-names = "default";
	pinctrl-0 = <&pinctrl_epwm1_a>;
	status = "disabled";
};

&main_gpio0 {
	gpio-line-names =
		"SODIMM_52", /* 0 */
		"",
		"",
		"SODIMM_56",
		"SODIMM_58",
		"SODIMM_60",
		"SODIMM_62",
		"",
		"",
		"",
		"", /* 10 */
		"SODIMM_54",
		"SODIMM_64",
		"",
		"",
		"SODIMM_174",
		"SODIMM_172",
		"",
		"",
		"",
		"", /* 20 */
		"",
		"",
		"",
		"",
		"",
		"",
		"",
		"",
		"SODIMM_76",
		"SODIMM_21", /* 30 */
		"SODIMM_256",
		"SODIMM_252",
		"",
		"SODIMM_46",
		"SODIMM_42",
		"SODIMM_218",
		"",
		"SODIMM_189",
		"",
		"SODIMM_216", /* 40 */
		"SODIMM_220",
		"SODIMM_222",
		"",
		"",
		"",
		"",
		"",
		"",
		"",
		"", /* 50 */
		"",
		"",
		"",
		"",
		"",
		"",
		"",
		"",
		"",
		"", /* 60 */
		"",
		"",
		"",
		"",
		"",
		"",
		"",
		"",
		"",
		"", /* 70 */
		"SODIMM_157",
		"SODIMM_187",
		"",
		"",
		"",
		"",
		"",
		"",
		"",
		"", /* 80 */
		"",
		"",
		"",
		"",
		"",
		"";
};

&main_gpio1 {
	gpio-line-names =
		"", /* 0 */
		"",
		"",
		"",
		"",
		"",
		"",
		"",
		"",
		"",
		"", /* 10 */
		"",
		"",
		"",
		"",
		"SODIMM_15",
		"SODIMM_16",
		"SODIMM_19",
		"SODIMM_66",
		"SODIMM_161",
		"", /* 20 */
		"",
		"",
		"",
		"",
		"",
		"",
		"",
		"",
		"",
		"", /* 30 */
		"",
		"",
		"",
		"",
		"",
		"",
		"",
		"",
		"",
		"", /* 40 */
		"",
		"",
		"",
		"",
		"",
		"",
		"",
		"",
		"SODIMM_17",
		"SODIMM_155", /* 50 */
		"",
		"",
		"",
		"",
		"",
		"",
		"",
		"",
		"",
		"", /* 60 */
		"",
		"",
		"",
		"",
		"",
		"",
		"",
		"",
		"",
		"", /* 70 */
		"",
		"",
		"",
		"",
		"",
		"",
		"",
		"",
		"",
		"", /* 80 */
		"",
		"",
		"",
		"",
		"",
		"",
		"";
};

/* On-module I2C - PMIC_I2C */
&main_i2c0 {
	pinctrl-names = "default";
	pinctrl-0 = <&pinctrl_i2c0>;
	clock-frequency = <400000>;
	status = "okay";

	dsi_bridge: dsi@e {
		compatible = "toshiba,tc358778";
		reg = <0xe>;
		assigned-clocks = <&k3_clks 157 20>;
		assigned-clock-parents = <&k3_clks 157 22>;
		assigned-clock-rates = <25000000>;
		pinctrl-names = "default";
		pinctrl-0 = <&pinctrl_bridge_reset>;
		clocks = <&k3_clks 157 20>;
		clock-names = "refclk";
		reset-gpios = <&main_gpio0 20 GPIO_ACTIVE_LOW>;
		vddc-supply = <&reg_1v2_dsi>;
		vddmipi-supply = <&reg_1v2_dsi>;
		vddio-supply = <&reg_1v8_dsi>;
		status = "disabled";

		dsi_bridge_ports: ports {
			#address-cells = <1>;
			#size-cells = <0>;

			port@0 {
				reg = <0>;

				rgb_in: endpoint {
					data-lines = <18>;
					remote-endpoint = <&dpi_out>;
				};
			};

			port@1 {
				reg = <1>;
			};
		};
	};

	pmic@30 {
		compatible = "ti,tps65219";
		reg = <0x30>;
		pinctrl-names = "default";
		pinctrl-0 = <&pinctrl_pmic_extint>;
		interrupt-parent = <&gic500>;
		interrupts = <GIC_SPI 224 IRQ_TYPE_LEVEL_HIGH>;

		buck1-supply = <&reg_vsodimm>;
		buck2-supply = <&reg_vsodimm>;
		buck3-supply = <&reg_vsodimm>;
		ldo1-supply = <&reg_3v3>;
		ldo2-supply = <&reg_1v8>;
		ldo3-supply = <&reg_3v3>;
		ldo4-supply = <&reg_3v3>;
		system-power-controller;
		ti,power-button;

		regulators {
			reg_vdd_core: buck1 {
				regulator-always-on;
				regulator-boot-on;
				regulator-max-microvolt = <850000>;
				regulator-min-microvolt = <750000>;
				regulator-name = "+VDD_CORE (PMIC BUCK1)";
			};

			reg_1v8: buck2 {
				regulator-always-on;
				regulator-boot-on;
				regulator-max-microvolt = <1800000>;
				regulator-min-microvolt = <1800000>;
				regulator-name = "+V1.8 (PMIC BUCK2)"; /* On-module and SODIMM 214 */
			};

			reg_vdd_ddr: buck3 {
				regulator-always-on;
				regulator-boot-on;
				regulator-max-microvolt = <1100000>;
				regulator-min-microvolt = <1100000>;
				regulator-name = "+VDD_DDR (PMIC BUCK3)";
			};

			reg_sd_3v3_1v8: ldo1 {
				regulator-allow-bypass;
				regulator-always-on;
				regulator-boot-on;
				regulator-max-microvolt = <3300000>;
				regulator-min-microvolt = <3300000>;
				regulator-name = "+V3.3_1.8_SD (PMIC LDO1)";
			};

			reg_vddr_core: ldo2 {
				regulator-always-on;
				regulator-boot-on;
				regulator-max-microvolt = <850000>;
				regulator-min-microvolt = <850000>;
				regulator-name = "+VDDR_CORE (PMIC LDO2)";
			};

			reg_1v8a: ldo3 {
				regulator-always-on;
				regulator-boot-on;
				regulator-max-microvolt = <1800000>;
				regulator-min-microvolt = <1800000>;
				regulator-name = "+V1.8A (PMIC LDO3)";
			};

			reg_eth_2v5: ldo4 {
				regulator-always-on;
				regulator-boot-on;
				regulator-max-microvolt = <2500000>;
				regulator-min-microvolt = <2500000>;
				regulator-name = "+V2.5_ETH (PMIC LDO4)";
			};
		};
	};

	rtc_i2c: rtc@32 {
		compatible = "epson,rx8130";
		reg = <0x32>;
	};

	sensor@48 {
		compatible = "ti,tmp1075";
		reg = <0x48>;
	};

	adc@49 {
		compatible = "ti,ads1015";
		reg = <0x49>;
		#address-cells = <1>;
		#size-cells = <0>;

		/* Verdin PMIC_I2C (ADC_4 - ADC_3) */
		channel@0 {
			reg = <0>;
			ti,datarate = <4>;
			ti,gain = <2>;
		};

		/* Verdin PMIC_I2C (ADC_4 - ADC_1) */
		channel@1 {
			reg = <1>;
			ti,datarate = <4>;
			ti,gain = <2>;
		};

		/* Verdin PMIC_I2C (ADC_3 - ADC_1) */
		channel@2 {
			reg = <2>;
			ti,datarate = <4>;
			ti,gain = <2>;
		};

		/* Verdin PMIC_I2C (ADC_2 - ADC_1) */
		channel@3 {
			reg = <3>;
			ti,datarate = <4>;
			ti,gain = <2>;
		};

		/* Verdin PMIC_I2C ADC_4 */
		channel@4 {
			reg = <4>;
			ti,datarate = <4>;
			ti,gain = <2>;
		};

		/* Verdin PMIC_I2C ADC_3 */
		channel@5 {
			reg = <5>;
			ti,datarate = <4>;
			ti,gain = <2>;
		};

		/* Verdin PMIC_I2C ADC_2 */
		channel@6 {
			reg = <6>;
			ti,datarate = <4>;
			ti,gain = <2>;
		};

		/* Verdin PMIC_I2C ADC_1 */
		channel@7 {
			reg = <7>;
			ti,datarate = <4>;
			ti,gain = <2>;
		};
	};

	eeprom@50 {
		compatible = "st,24c02", "atmel,24c02";
		pagesize = <16>;
		reg = <0x50>;
	};
};

/* Verdin I2C_1 */
&main_i2c1 {
	pinctrl-names = "default";
	pinctrl-0 = <&pinctrl_i2c1>;
	status = "disabled";
};

/* Verdin I2C_2_DSI */
&main_i2c2 {
	pinctrl-names = "default";
	pinctrl-0 = <&pinctrl_i2c2>;
	status = "disabled";
};

/* Verdin I2C_4_CSI */
&main_i2c3 {
	pinctrl-names = "default";
	pinctrl-0 = <&pinctrl_i2c3>;
	status = "disabled";
};

&mailbox0_cluster0 {
	mbox_m4_0: mbox-m4-0 {
		ti,mbox-rx = <0 0 0>;
		ti,mbox-tx = <1 0 0>;
	};
};

/* Verdin CAN_1 */
&main_mcan0 {
	pinctrl-names = "default";
	pinctrl-0 = <&pinctrl_mcan0>;
	status = "disabled";
};

/* Verdin SPI_1 */
&main_spi1 {
	pinctrl-names = "default";
	pinctrl-0 = <&pinctrl_spi1>, <&pinctrl_spi1_cs0>;
	ti,pindir-d0-out-d1-in;
	status = "disabled";
};

/* Verdin UART_3, used as the Linux console */
&main_uart0 {
	pinctrl-names = "default";
	pinctrl-0 = <&pinctrl_uart0>;
	status = "disabled";
};

/* Verdin UART_1 */
&main_uart1 {
	pinctrl-names = "default";
	pinctrl-0 = <&pinctrl_uart1>;
	status = "disabled";
};

/* Verdin I2S_1 */
&mcasp0 {
	pinctrl-names = "default";
	pinctrl-0 = <&pinctrl_mcasp0>;
	op-mode = <0>; /* I2S mode */
	serial-dir = <  /* 0: INACTIVE, 1: TX, 2: RX */
	       1 2 0 0
	       0 0 0 0
	       0 0 0 0
	       0 0 0 0
	>;
	tdm-slots = <2>;
	rx-num-evt = <32>;
	tx-num-evt = <32>;
	#sound-dai-cells = <0>;
	status = "disabled";
};

/* Verdin I2S_2 */
&mcasp1 {
	pinctrl-names = "default";
	pinctrl-0 = <&pinctrl_mcasp1>;
	op-mode = <0>; /* I2S mode */
	serial-dir = <  /* 0: INACTIVE, 1: TX, 2: RX */
	       1 2 0 0
	       0 0 0 0
	       0 0 0 0
	       0 0 0 0
	>;
	tdm-slots = <2>;
	rx-num-evt = <32>;
	tx-num-evt = <32>;
	#sound-dai-cells = <0>;
	status = "disabled";
};

/* Verdin I2C_3_HDMI */
&mcu_i2c0 {
	pinctrl-names = "default";
	pinctrl-0 = <&pinctrl_mcu_i2c0>;
	status = "disabled";
};

&mcu_gpio0 {
	gpio-line-names =
		"SODIMM_244",
		"SODIMM_206",
		"SODIMM_208",
		"SODIMM_210",
		"SODIMM_212",
		"",
		"",
		"",
		"",
		"",
		"",
		"",
		"",
		"",
		"",
		"",
		"",
		"",
		"",
		"",
		"",
		"",
		"",
		"";

	verdin_pcie_1_reset_hog: pcie-1-reset-hog {
		gpio-hog;
		/* Verdin PCIE_1_RESET# (SODIMM 244) */
		gpios = <0 GPIO_ACTIVE_LOW>;
		line-name = "PCIE_1_RESET#";
		output-low;
		status = "disabled";
	};
};

/* Verdin CAN_2 */
&mcu_mcan0 {
	pinctrl-names = "default";
	pinctrl-0 = <&pinctrl_mcu_mcan0>;
	status = "disabled";
};

/* Verdin UART_4 - Cortex-M4 UART */
&mcu_uart0 {
	pinctrl-names = "default";
	pinctrl-0 = <&pinctrl_mcu_uart0>;
	status = "disabled";
};

/* Verdin QSPI_1 */
&ospi0 {
	pinctrl-names = "default";
	pinctrl-0 = <&pinctrl_ospi0>;
	status = "disabled";
};

/* On-module eMMC */
&sdhci0 {
	pinctrl-names = "default";
	pinctrl-0 = <&pinctrl_sdhci0>;
	non-removable;
	status = "okay";
};

/* Verdin SD_1 */
&sdhci1 {
	pinctrl-names = "default";
	pinctrl-0 = <&pinctrl_sdhci1>, <&pinctrl_sd1_cd_gpio>;
	cd-gpios = <&main_gpio1 48 GPIO_ACTIVE_LOW>;
	disable-wp;
	vmmc-supply = <&reg_sdhc1_vmmc>;
	vqmmc-supply = <&reg_sdhc1_vqmmc>;
	ti,fails-without-test-cd;
	status = "disabled";
};

/* Verdin USB_1 */
&usbss0 {
	ti,vbus-divider;
	status = "disabled";
};

&usb0 {
	adp-disable;
	usb-role-switch;
	status = "disabled";

	port {
		usb0_ep: endpoint {
			remote-endpoint = <&usb_dr_connector>;
		};
	};
};

/* Verdin USB_2 */
&usbss1 {
	ti,vbus-divider;
	status = "disabled";
};

&usb1 {
	pinctrl-names = "default";
	pinctrl-0 = <&pinctrl_usb1>;
	dr_mode = "host";
	status = "disabled";
};

/* Verdin UART_2 */
&wkup_uart0 {
	pinctrl-names = "default";
	pinctrl-0 = <&pinctrl_wkup_uart0>;
	status = "disabled";
};
